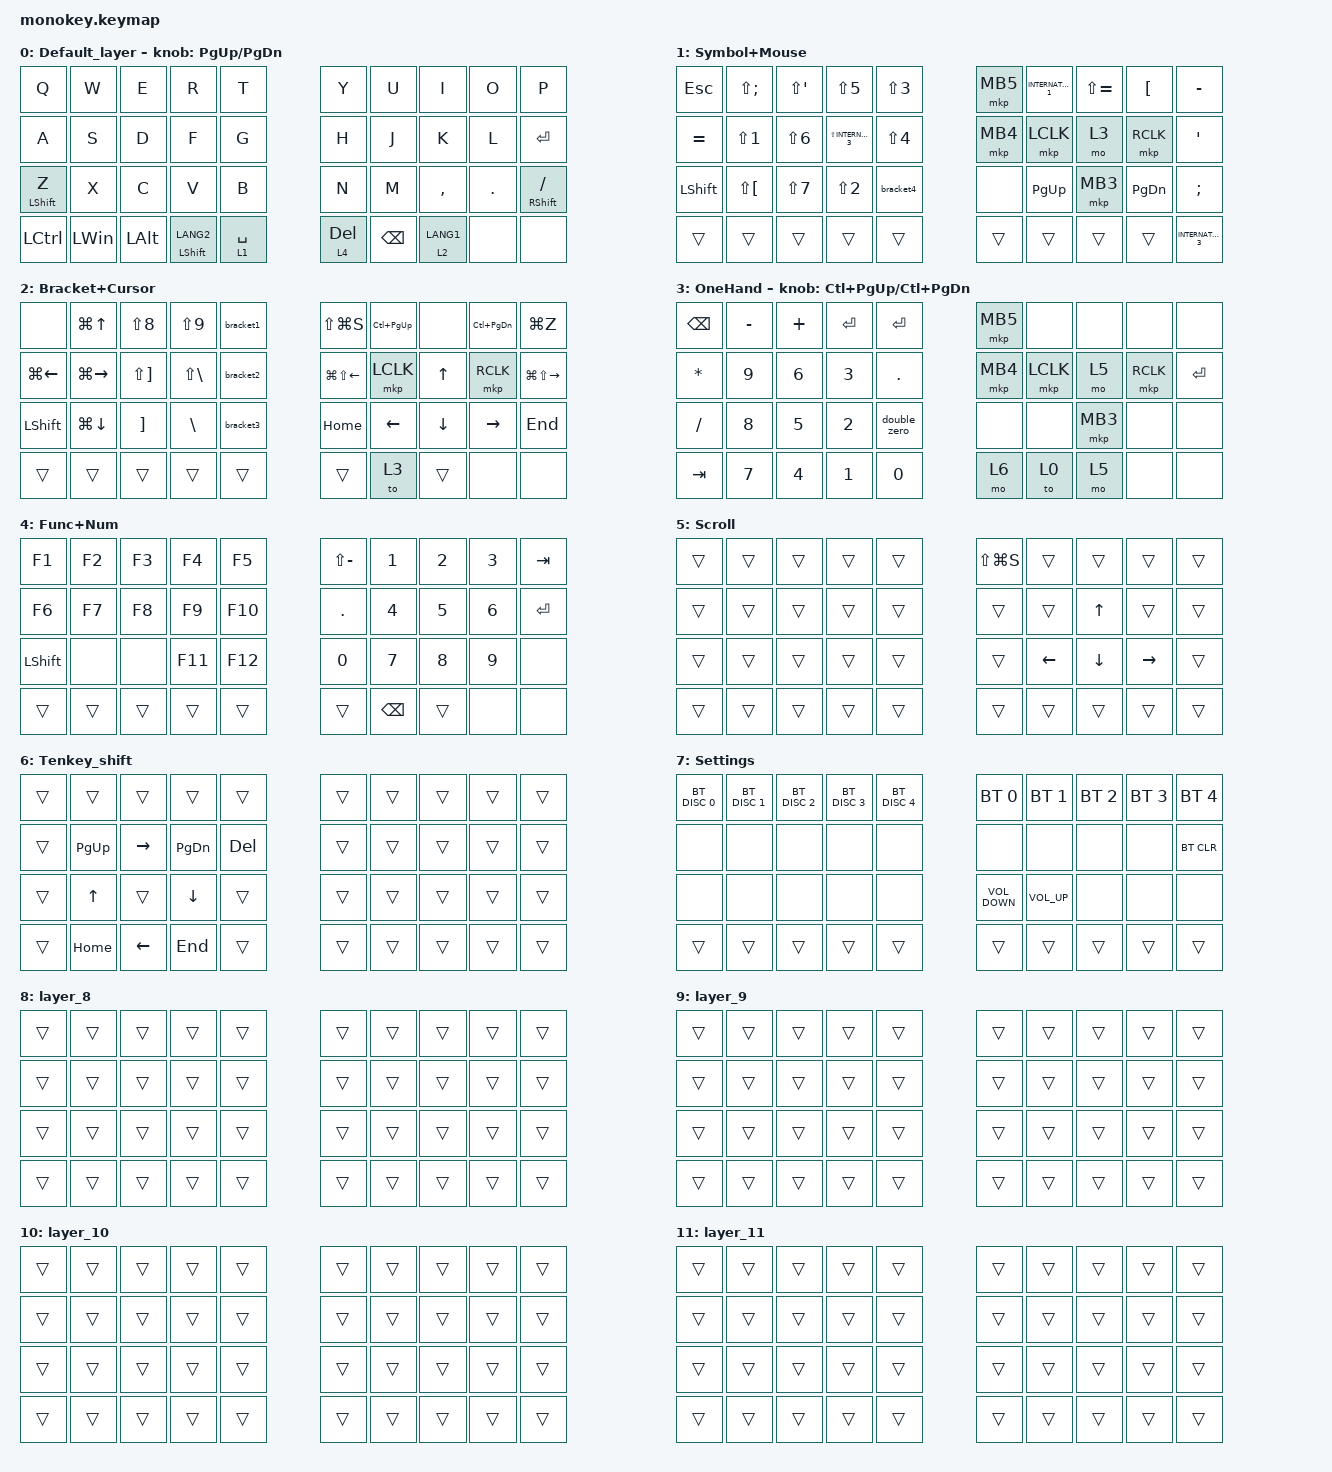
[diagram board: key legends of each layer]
#include <behaviors.dtsi>
#include <dt-bindings/zmk/bt.h>
#include <dt-bindings/zmk/keys.h>
#include <dt-bindings/zmk/pointing.h>

#define MOUSE 4
#define SCROLL 5
#define NUM 6

&mt {
    flavor = "balanced";
    quick-tap-ms = <200>;
};

&lt { quick-tap-ms = <200>; };

/ {
    combos {
        compatible = "zmk,combos";

        tab {
            bindings = <&kp TAB>;
            key-positions = <1 0>;
            layers = <0>;
        };

        shift_tab {
            bindings = <&kp LS(TAB)>;
            key-positions = <2 0>;
            layers = <0>;
        };

        under_score {
            bindings = <&kp LS(INTERNATIONAL_1)>;
            key-positions = <29 28>;
            layers = <0>;
        };

        minus {
            bindings = <&kp MINUS>;
            key-positions = <17 18>;
            layers = <0>;
        };

        select_line_combo {
            bindings = <&select_line>;
            key-positions = <24 20>;
            layers = <0>;
        };

        to_setting {
            bindings = <&mo 7>;
            key-positions = <38 39>;
            layers = <0>;
        };
    };

    behaviors {
        right_click: right_click_behavior {
            compatible = "zmk,behavior-mouse-key";
            label = "RIGHT_CLICK";
            #binding-cells = <0>;

            // 右クリックは通常 MB2 に対応（ZMKの標準定義）

            bindings = <&mkp MB2>;
        };
    };

    macros {
        bracket1: bracket1 {
            compatible = "zmk,behavior-macro";
            #binding-cells = <0>;
            bindings = <&kp LS(N8) &kp LS(N9) &kp LEFT_ARROW>;
            label = "BRACKET1";
        };

        bracket2: bracket2 {
            compatible = "zmk,behavior-macro";
            #binding-cells = <0>;
            bindings = <&kp LS(RIGHT_BRACKET) &kp LS(BACKSLASH) &kp LEFT>;
            label = "BRACKET2";
        };

        bracket3: bracket3 {
            compatible = "zmk,behavior-macro";
            #binding-cells = <0>;
            bindings = <&kp RIGHT_BRACKET &kp BACKSLASH &kp LEFT>;
            label = "BRACKET3";
        };

        bracket4: bracket4 {
            compatible = "zmk,behavior-macro";
            #binding-cells = <0>;
            bindings = <&kp LS(NUMBER_2) &kp LS(NUMBER_2) &kp LEFT>;
            label = "BRACKET4";
        };

        bracket5: bracket5 {
            compatible = "zmk,behavior-macro";
            #binding-cells = <0>;
            bindings = <&kp LS(COMMA) &kp LS(PERIOD) &kp LEFT>;
            label = "BRACKET5";
        };

        select_line: select_line {
            compatible = "zmk,behavior-macro";
            #binding-cells = <0>;
            bindings =
                <&kp HOME>,
                <&macro_press>,
                <&kp LEFT_SHIFT>,
                <&macro_tap>,
                <&kp END>,
                <&macro_release>,
                <&kp LEFT_SHIFT>;

            label = "SELECT_LINE";
        };

        double_zero: double_zero {
            compatible = "zmk,behavior-macro";
            #binding-cells = <0>;
            bindings = <&kp N0 &kp N0>;
            label = "DOUBLE_ZERO";
        };
    };

    keymap {
        compatible = "zmk,keymap";

        Default_layer {
            bindings = <
&kp Q             &kp W         &kp E         &kp R                 &kp T                        &kp Y          &kp U        &kp I      &kp O       &kp P
&kp A             &kp S         &kp D         &kp F                 &kp G                        &kp H          &kp J        &kp K      &kp L       &kp ENTER
&mt LEFT_SHIFT Z  &kp X         &kp C         &kp V                 &kp B                        &kp N          &kp M        &kp COMMA  &kp PERIOD  &mt RIGHT_SHIFT SLASH
&kp LCTRL         &kp LEFT_WIN  &kp LEFT_ALT  &mt LEFT_SHIFT LANG2  &lt 1 SPACE  &lt 4 DELETE    &kp BACKSPACE  &lt 2 LANG1             &none       &none
            >;

            sensor-bindings = <&inc_dec_kp PG_UP PAGE_DOWN>;
        };

        Symbol+Mouse {
            bindings = <
&kp ESC         &kp LS(SEMICOLON)     &kp LS(SQT)       &kp LS(N5)               &kp LS(NUMBER_3)            &mkp MB5  &kp INTERNATIONAL_1  &kp LS(EQUAL)  &kp LEFT_BRACKET  &kp MINUS
&kp EQUAL       &kp LS(NUMBER_1)      &kp LS(NUMBER_6)  &kp LS(INTERNATIONAL_3)  &kp LS(NUMBER_4)            &mkp MB4  &mkp LCLK            &mo 3          &mkp RCLK         &kp SQT
&kp LEFT_SHIFT  &kp LS(LEFT_BRACKET)  &kp LS(N7)        &kp LS(NUMBER_2)         &bracket4                   &none     &kp PG_UP            &mkp MB3       &kp PG_DN         &kp SEMICOLON
&trans          &trans                &trans            &trans                   &trans            &trans    &trans    &trans                              &trans            &kp INTERNATIONAL_3
            >;
        };

        Bracket+Cursor {
            bindings = <
&none           &kp LG(UP_ARROW)  &kp LS(N8)             &kp LS(N9)         &bracket1            &kp LS(LG(S))           &kp LC(PG_UP)   &none           &kp LC(PAGE_DOWN)  &kp LG(Z)
&kp LG(LEFT)    &kp LG(RIGHT)     &kp LS(RIGHT_BRACKET)  &kp LS(BACKSLASH)  &bracket2            &kp LG(LS(LEFT_ARROW))  &mkp LCLK       &kp UP_ARROW    &mkp RCLK          &kp LG(LS(RIGHT))
&kp LEFT_SHIFT  &kp LG(DOWN)      &kp RIGHT_BRACKET      &kp BACKSLASH      &bracket3            &kp HOME                &kp LEFT_ARROW  &kp DOWN_ARROW  &kp RIGHT          &kp END
&trans          &trans            &trans                 &trans             &trans     &trans    &to 3                   &trans                          &none              &none
            >;
        };

        OneHand {
            bindings = <
&kp BACKSPACE  &kp MINUS  &kp PLUS      &kp ENTER     &kp ENTER              &mkp MB5  &none      &none     &none      &none
&kp ASTERISK   &kp N9     &kp NUMBER_6  &kp NUMBER_3  &kp PERIOD             &mkp MB4  &mkp LCLK  &mo 5     &mkp RCLK  &kp ENTER
&kp SLASH      &kp N8     &kp N5        &kp NUMBER_2  &double_zero           &none     &none      &mkp MB3  &none      &none
&kp TAB        &kp N7     &kp NUMBER_4  &kp NUMBER_1  &kp N0        &mo 6    &to 0     &mo 5                &none      &none
            >;

            sensor-bindings = <&inc_dec_kp LC(PAGE_UP) LC(PAGE_DOWN)>;
        };

        Func+Num {
            bindings = <
&kp F1     &kp F2  &kp F3  &kp F4   &kp F5             &kp LS(MINUS)  &kp N1  &kp N2  &kp N3  &kp TAB
&kp F6     &kp F7  &kp F8  &kp F9   &kp F10            &kp PERIOD     &kp N4  &kp N5  &kp N6  &kp ENTER
&kp LSHFT  &none   &none   &kp F11  &kp F12            &kp N0         &kp N7  &kp N8  &kp N9  &none
&trans     &trans  &trans  &trans   &trans   &trans    &kp BSPC       &trans          &none   &none
            >;
        };

        Scroll {
            bindings = <
&trans  &trans  &trans  &trans  &trans            &kp LS(LG(S))  &trans          &trans          &trans     &trans
&trans  &trans  &trans  &trans  &trans            &trans         &trans          &kp UP_ARROW    &trans     &trans
&trans  &trans  &trans  &trans  &trans            &trans         &kp LEFT_ARROW  &kp DOWN_ARROW  &kp RIGHT  &trans
&trans  &trans  &trans  &trans  &trans  &trans    &trans         &trans                          &trans     &trans
            >;
        };

        Tenkey_shift {
            bindings = <
&trans  &trans        &trans          &trans          &trans                &trans  &trans  &trans  &trans  &trans
&trans  &kp PG_UP     &kp RIGHT       &kp PAGE_DOWN   &kp DELETE            &trans  &trans  &trans  &trans  &trans
&trans  &kp UP_ARROW  &trans          &kp DOWN_ARROW  &trans                &trans  &trans  &trans  &trans  &trans
&trans  &kp HOME      &kp LEFT_ARROW  &kp END         &trans      &trans    &trans  &trans          &trans  &trans
            >;
        };

        Settings {
            bindings = <
&bt BT_DISC 0  &bt BT_DISC 1  &bt BT_DISC 2  &bt BT_DISC 3  &bt BT_DISC 4            &bt BT_SEL 0       &bt BT_SEL 1  &bt BT_SEL 2  &bt BT_SEL 3  &bt BT_SEL 4
&none          &none          &none          &none          &none                    &none              &none         &none         &none         &bt BT_CLR
&none          &none          &none          &none          &none                    &kp C_VOLUME_DOWN  &kp C_VOL_UP  &none         &none         &none
&trans         &trans         &trans         &trans         &trans         &trans    &trans             &trans                      &trans        &trans
            >;
        };

        layer_8 {
            bindings = <
&trans  &trans  &trans  &trans  &trans            &trans  &trans  &trans  &trans  &trans
&trans  &trans  &trans  &trans  &trans            &trans  &trans  &trans  &trans  &trans
&trans  &trans  &trans  &trans  &trans            &trans  &trans  &trans  &trans  &trans
&trans  &trans  &trans  &trans  &trans  &trans    &trans  &trans          &trans  &trans
            >;
        };

        layer_9 {
            bindings = <
&trans  &trans  &trans  &trans  &trans            &trans  &trans  &trans  &trans  &trans
&trans  &trans  &trans  &trans  &trans            &trans  &trans  &trans  &trans  &trans
&trans  &trans  &trans  &trans  &trans            &trans  &trans  &trans  &trans  &trans
&trans  &trans  &trans  &trans  &trans  &trans    &trans  &trans          &trans  &trans
            >;
        };

        layer_10 {
            bindings = <
&trans  &trans  &trans  &trans  &trans            &trans  &trans  &trans  &trans  &trans
&trans  &trans  &trans  &trans  &trans            &trans  &trans  &trans  &trans  &trans
&trans  &trans  &trans  &trans  &trans            &trans  &trans  &trans  &trans  &trans
&trans  &trans  &trans  &trans  &trans  &trans    &trans  &trans          &trans  &trans
            >;
        };

        layer_11 {
            bindings = <
&trans  &trans  &trans  &trans  &trans            &trans  &trans  &trans  &trans  &trans
&trans  &trans  &trans  &trans  &trans            &trans  &trans  &trans  &trans  &trans
&trans  &trans  &trans  &trans  &trans            &trans  &trans  &trans  &trans  &trans
&trans  &trans  &trans  &trans  &trans  &trans    &trans  &trans          &trans  &trans
            >;
        };
    };
};
